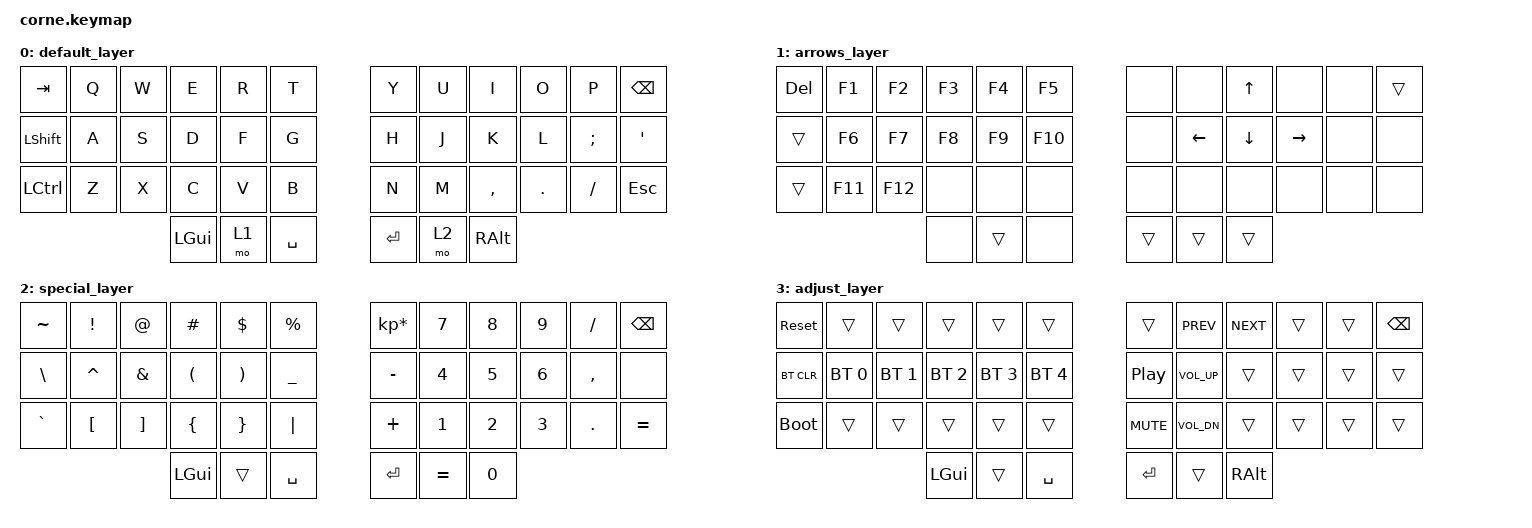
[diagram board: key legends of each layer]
/*
 * Copyright (c) 2020 The ZMK Contributors
 *
 * SPDX-License-Identifier: MIT
 */

#include <behaviors.dtsi>
#include <dt-bindings/zmk/keys.h>
#include <dt-bindings/zmk/bt.h>

#define DEFAULT 0
#define ARROWS 1
#define SPECIAL 2
#define ADJUST 3

/ {
        keymap {
                compatible = "zmk,keymap";

                default_layer {
                        // -----------------------------------------------------------------------------------------
                        // |  TAB |  Q  |  W  |  E  |  R  |  T  |   |  Y  |  U   |  I  |  O  |  P  | BKSP |
                        // | SHFT |  A  |  S  |  D  |  F  |  G  |   |  H  |  J   |  K  |  L  |  ;  |  '   |
                        // | CTRL |  Z  |  X  |  C  |  V  |  B  |   |  N  |  M   |  ,  |  .  |  /  | ESC  |
                        //                    | GUI | NUM | SPC |   | ENT | SPE  | ALT |
                        bindings =
                         <
                                &kp TAB   &kp Q &kp W &kp E &kp R &kp T   &kp Y &kp U  &kp I     &kp O   &kp P    &kp BSPC
                                &kp LSHFT &kp A &kp S &kp D &kp F &kp G   &kp H &kp J  &kp K     &kp L   &kp SEMI &kp SQT
                                &kp LCTRL &kp Z &kp X &kp C &kp V &kp B   &kp N &kp M  &kp COMMA &kp DOT &kp FSLH &kp ESC
                                                &kp LGUI &mo 1 &kp SPACE   &kp RET &mo 2 &kp RALT
                        >;
                };

                arrows_layer {
                        // -----------------------------------------------------------------------------------------
                        // | DEL  | F1 | F2 | F3 | F4 | F5  |    |     |     |  UP  |     |    | BKSP |
                        // | SHFT | F6 | F7 | F8 | F9 | F10 |    |     | LFT | DOWN | RGT |    |      |
                        // | CTRL | F11| F12|    |    |     |    |     |     |      |     |    |      |
                        //                  |    |    | SPC |    | ENT |     | ALT  |

                        bindings =
                        <
                                &kp DEL  &kp F1  &kp F2  &kp F3  &kp F4  &kp F5      &none   &none     &kp UP    &none      &none  &trans
                                &trans   &kp F6  &kp F7  &kp F8  &kp F9  &kp F10    &none   &kp LEFT  &kp DOWN  &kp RIGHT  &none  &none
                                &trans   &kp F11 &kp F12 &none   &none   &none      &none   &none     &none     &none      &none  &none
                                                         &none   &trans  &none      &trans  &trans     &trans
                        >;
                };

                special_layer {
                        // -----------------------------------------------------------------------------------------
                        // | ~ |  !  |  @  |  #  |  $  |  %  |    |  *  |  7  |  8  |  9  |  /  | BKSP |
                        // | \ |  ^  |  &  |  (  |  )  |  _  |    |  -  |  4  |  5  |  6  |  ,  |      |
                        // | ` |  [  |  ]  |  {  |  }  |  |  |    |  +  |  1  |  2  |  3  |  .  |  =   |
                        //                 | GUI |     | SPC |    | ENT |  =  |  0 |
                        bindings =
                        <
                                &kp TILDE  &kp EXCL   &kp AT    &kp HASH  &kp DLLR  &kp PRCNT    &kp KP_MULTIPLY &kp N7     &kp N8  &kp N9  &kp FSLH   &kp BSPC
                                &kp BSLH   &kp CARET  &kp AMPS  &kp LPAR  &kp RPAR  &kp UNDER    &kp MINUS       &kp N4     &kp N5  &kp N6  &kp COMMA  &none
                                &kp GRAVE  &kp LBKT   &kp RBKT  &kp LBRC  &kp RBRC  &kp PIPE     &kp PLUS        &kp N1     &kp N2  &kp N3  &kp DOT    &kp EQUAL
                                                          &kp LGUI &trans   &kp SPACE            &kp RET         &kp EQUAL  &kp N0
                        >;
                };

                adjust_layer {
                        // -----------------------------------------------------------------------------------------
                        // |    Reset   |     |     |     |     |     |   |     |     |     |     |     | BKSP |
                        // |    BTCLR   | BT1 | BT2 | BT3 | BT4 | BT5 |   |     |     |     |     |     |      |
                        // | Bootloader |     |     |     |     |     |   |     |     |     |     |     |      |
                        //                                     | GUI |     | SPC |   | ENT |     | ALT |
                        bindings =
                      <
                                &sys_reset  &trans       &trans       &trans       &trans       &trans         &trans      &kp C_PREV     &kp C_NEXT  &trans  &trans &kp BSPC
                                &bt BT_CLR  &bt BT_SEL 0 &bt BT_SEL 1 &bt BT_SEL 2 &bt BT_SEL 3 &bt BT_SEL 4   &kp C_PP    &kp C_VOL_UP   &trans      &trans  &trans &trans
                                &bootloader &trans       &trans       &trans       &trans       &trans         &kp C_MUTE  &kp C_VOL_DN   &trans      &trans  &trans &trans
                                                                     &kp LGUI     &trans       &kp SPACE      &kp RET  &trans   &kp RALT
                        >;
                };

        };

        conditional_layers {
                compatible = "zmk,conditional-layers";
                adjust {
                        if-layers = <1 2>;
                        then-layer = <3>;
                };
        };
};
